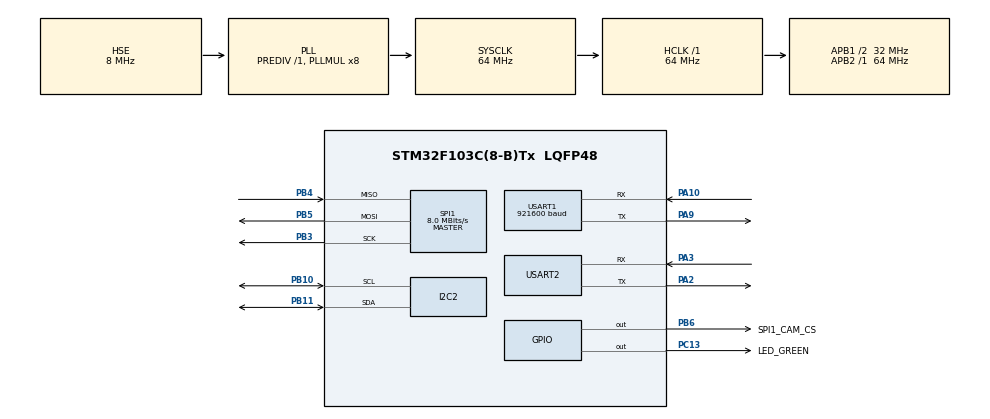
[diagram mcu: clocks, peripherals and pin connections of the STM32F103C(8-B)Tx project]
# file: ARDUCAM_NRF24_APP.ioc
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Mcu.Family=STM32F1
Mcu.Name=STM32F103C(8-B)Tx
Mcu.Package=LQFP48
NVIC.PriorityGroup=NVIC_PRIORITYGROUP_4
NVIC.TIM3_IRQn=true\:0\:0\:false\:false\:true\:true\:true
PA10.Mode=Asynchronous
PA10.Signal=USART1_RX
PA13.Mode=Serial_Wire
PA13.Signal=SYS_JTMS-SWDIO
PA14.Mode=Serial_Wire
PA14.Signal=SYS_JTCK-SWCLK
PA2.Mode=Asynchronous
PA2.Signal=USART2_TX
PA3.Mode=Asynchronous
PA3.Signal=USART2_RX
PA9.Mode=Asynchronous
PA9.Signal=USART1_TX
PB10.Mode=I2C
PB10.Signal=I2C2_SCL
PB11.Mode=I2C
PB11.Signal=I2C2_SDA
PB3.Mode=Full_Duplex_Master
PB3.Signal=SPI1_SCK
PB4.Mode=Full_Duplex_Master
PB4.Signal=SPI1_MISO
PB5.Mode=Full_Duplex_Master
PB5.Signal=SPI1_MOSI
PB6.GPIO_Label=SPI1_CAM_CS
PB6.Signal=GPIO_Output
PC13-TAMPER-RTC.GPIO_Label=LED_GREEN
PC13-TAMPER-RTC.Signal=GPIO_Output
PC14-OSC32_IN.Mode=LSE-External-Oscillator
PC14-OSC32_IN.Signal=RCC_OSC32_IN
PC15-OSC32_OUT.Mode=LSE-External-Oscillator
PC15-OSC32_OUT.Signal=RCC_OSC32_OUT
PD0-OSC_IN.Mode=HSE-External-Oscillator
PD0-OSC_IN.Signal=RCC_OSC_IN
PD1-OSC_OUT.Mode=HSE-External-Oscillator
PD1-OSC_OUT.Signal=RCC_OSC_OUT
ProjectManager.HeapSize=0x200
ProjectManager.StackSize=0x400
ProjectManager.TargetToolchain=EWARM V8.32
RCC.AHBFreq_Value=64000000
RCC.APB1CLKDivider=RCC_HCLK_DIV2
RCC.APB1Freq_Value=32000000
RCC.APB1TimFreq_Value=64000000
RCC.APB2Freq_Value=64000000
RCC.APB2TimFreq_Value=64000000
RCC.HCLKFreq_Value=64000000
RCC.PLLMUL=RCC_PLL_MUL8
RCC.PLLSourceVirtual=RCC_PLLSOURCE_HSE
RCC.SYSCLKFreq_VALUE=64000000
RCC.SYSCLKSource=RCC_SYSCLKSOURCE_PLLCLK
RCC.USBFreq_Value=64000000
SPI1.BaudRatePrescaler=SPI_BAUDRATEPRESCALER_8
SPI1.CalculateBaudRate=8.0 MBits/s
SPI1.Direction=SPI_DIRECTION_2LINES
SPI1.Mode=SPI_MODE_MASTER
SPI1.VirtualType=VM_MASTER
TIM3.Period=1000-1
TIM3.Prescaler=64000-1
USART1.BaudRate=921600
USART1.VirtualMode=VM_ASYNC
USART2.VirtualMode=VM_ASYNC
VP_TIM3_VS_ClockSourceINT.Mode=Internal
board=custom

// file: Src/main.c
/* USER CODE BEGIN Header */
/**
  ******************************************************************************
  * @file           : main.c
  * @brief          : Main program body
  ******************************************************************************
  * @attention
  *
  * <h2><center>&copy; Copyright (c) 2020 STMicroelectronics.
  * All rights reserved.</center></h2>
  *
  * This software component is licensed by ST under BSD 3-Clause license,
  * the "License"; You may not use this file except in compliance with the
  * License. You may obtain a copy of the License at:
  *                        opensource.org/licenses/BSD-3-Clause
  *
  ******************************************************************************
  */
/* USER CODE END Header */
#include "main.h"

/* USER CODE BEGIN Includes */

#include "stdio.h"
#include "string.h"
#include "ov2640_regs.h"
#include "arducam_2mp_mini_driver.h"

/* USER CODE END Includes */

I2C_HandleTypeDef hi2c2;

SPI_HandleTypeDef hspi1;

TIM_HandleTypeDef htim3;

UART_HandleTypeDef huart1;
UART_HandleTypeDef huart2;

/* USER CODE BEGIN PV */

#ifdef __GNUC__
#define PUTCHAR_PROTOTYPE_PUT int __io_putchar(int ch)
#define PUTCHAR_PROTOTYPE_GET int __io_getchar(int ch)
#else
#define PUTCHAR_PROTOTYPE_PUT int fputc(int ch, FILE *f)
#define PUTCHAR_PROTOTYPE_GET int fgetc(FILE *f)
#endif

PUTCHAR_PROTOTYPE_PUT
{
  HAL_UART_Transmit(&huart2, (uint8_t*)&ch, 1, 0xFF);
  if(ch == '\n')
  {
    ch = '\r';
    HAL_UART_Transmit(&huart2, (uint8_t*)&ch, 1, 0xFF);
  }
  return ch;
}

PUTCHAR_PROTOTYPE_GET
{
  uint8_t ch;
  while( HAL_UART_Receive(&huart2, (uint8_t*)&ch, 1, 0xFFFF) != HAL_OK);
  return ch;
}

/* USER CODE END PV */

void SystemClock_Config(void);
static void MX_GPIO_Init(void);
static void MX_SPI1_Init(void);
static void MX_USART1_UART_Init(void);
static void MX_I2C2_Init(void);
static void MX_TIM3_Init(void);
static void MX_USART2_UART_Init(void);

/* USER CODE BEGIN 0 */

void ARDU_CAM_INIT()
{
  uint8_t tmp[2];
  uint8_t SensorIDH, SensorIDL;

  cam_spi_write_reg(0x07, 0x80);
  HAL_Delay(100);
  cam_spi_write_reg(0x07, 0x00);
  HAL_Delay(100);

  uint8_t testregs[5] = {0xaa,0xbb,0xcc,0xdd,0x00};
  for(uint8_t i=0;i<5;i++)
  {
    tmp[0] = testregs[i];
    cam_spi_write_reg(0x00, tmp[0]);
    tmp[1] = cam_spi_read_reg(0x00);
    printf("write 0x%x read 0x%x\n", tmp[0],tmp[1]);
    if(tmp[0] != tmp[1])
    {
      printf("ERROR!!!!!!! ARDUCAM MODULE NOT FOUND\n");
      Error_Handler();
    }
  }

  cam_i2c_write_reg(0xff, 0x01);
  SensorIDH = cam_i2c_read_reg(0x0A);
  SensorIDL = cam_i2c_read_reg(0x0B);
  printf("Sensor ID : 0x%x%x\n", SensorIDH, SensorIDL);
  if( SensorIDH != 0x26 || SensorIDL != 0x42)
  {
    printf("OV2640 Sensor IDentification Error\n");
    Error_Handler();
  }

  cam_i2c_write_reg(0xff, 0x01);
  cam_i2c_write_reg(0x12, 0x80);
  HAL_Delay(100);
  printf("OV2640_JPEG_INIT\n");
  cam_i2c_write_regs(OV2640_JPEG_INIT);
  printf("OV2640_YUV422\n");
  cam_i2c_write_regs(OV2640_YUV422);
  printf("OV2640_JPEG\n");
  cam_i2c_write_regs(OV2640_JPEG);
  cam_i2c_write_reg(0xff, 0x01);
  cam_i2c_write_reg(0x15, 0x00);
  printf("OV2640_1600x1200_JPEG\n");
  cam_i2c_write_regs(OV2640_1600x1200_JPEG);
//  printf("\n");

}

volatile uint8_t capture_trigger = 0;

void HAL_TIM_PeriodElapsedCallback(TIM_HandleTypeDef *htim)
{
  if(htim->Instance == htim3.Instance)
  {
    capture_trigger = 1;
  }
}

#define pdatalen 512
uint8_t pdata[pdatalen];

uint32_t dataprocessed = 0;
uint32_t buffered_fifosize;

void Delay_us(uint32_t us){  // 72MHz
    uint32_t count=us*8-2;
    while(count--);
}

/* USER CODE END 0 */

int main(void)
{

  /* MCU Configuration--------------------------------------------------------*/

  /* Reset of all peripherals, Initializes the Flash interface and the Systick. */
  HAL_Init();

  /* Configure the system clock */
  SystemClock_Config();

  /* Initialize all configured peripherals */
  MX_GPIO_Init();
  MX_SPI1_Init();
  MX_USART1_UART_Init();
  MX_I2C2_Init();
  MX_TIM3_Init();
  MX_USART2_UART_Init();

  /* Infinite loop */
  /* USER CODE BEGIN WHILE */

  printf("------------- F103C8T6 Started -------------\n");
  ARDU_CAM_INIT();
  cam_spi_write_reg(ARDUCHIP_FIFO, FIFO_CLEAR_MASK);
  printf("ARDUCAM INIT Complete\n");

  while (1)
  {
    /* USER CODE END WHILE */

    /* USER CODE BEGIN 3 */

    getchar();

    printf("capture start\n");

    cam_spi_write_reg(ARDUCHIP_FIFO, FIFO_CLEAR_MASK);
    cam_spi_write_reg(ARDUCHIP_FIFO, FIFO_START_MASK); // fifo loading - capture start

    while( !(cam_spi_read_reg(ARDUCHIP_TRIG) & CAP_DONE_MASK));

    pdata[0] = cam_spi_read_reg(FIFO_SIZE1);
    pdata[1] = cam_spi_read_reg(FIFO_SIZE2);
    pdata[2] = cam_spi_read_reg(FIFO_SIZE3);
    pdata[15] = 0xAA;
    HAL_UART_Transmit(&huart1, pdata, 16, 0x1000);

    buffered_fifosize = ((pdata[2]<<16) | (pdata[1]<<8) | (pdata[0]));

    printf("captured size : %d bytes\n", buffered_fifosize);

    CAM_CS_BEGIN;

    pdata[0] = BURST_FIFO_READ;
    HAL_SPI_Transmit(&hspi1, pdata, 1, 0x1000);

    uint8_t bytenow=0,bytepast=0;
    while(buffered_fifosize--)
    {
      HAL_SPI_Receive(&hspi1, &bytenow, 1, 0x1000);
      HAL_UART_Transmit(&huart1, &bytenow,1,0x1000);

      if(bytenow == 0xD9 && bytepast == 0xFF)
      {
        HAL_UART_Transmit(&huart1, &bytenow,1,0x1000);
        printf("FFD9 found\n");
        break;
      }
      Delay_us(200);
      bytepast = bytenow;
    }

    CAM_CS_END;

    cam_spi_write_reg(ARDUCHIP_FIFO, FIFO_CLEAR_MASK); // reset fifo

    printf("capture end\n");

  }
  /* USER CODE END 3 */
}

void SystemClock_Config(void)
{
  RCC_OscInitTypeDef RCC_OscInitStruct = {0};
  RCC_ClkInitTypeDef RCC_ClkInitStruct = {0};

  /** Initializes the RCC Oscillators according to the specified parameters
  * in the RCC_OscInitTypeDef structure.
  */
  RCC_OscInitStruct.OscillatorType = RCC_OSCILLATORTYPE_HSE;
  RCC_OscInitStruct.HSEState = RCC_HSE_ON;
  RCC_OscInitStruct.HSEPredivValue = RCC_HSE_PREDIV_DIV1;
  RCC_OscInitStruct.HSIState = RCC_HSI_ON;
  RCC_OscInitStruct.PLL.PLLState = RCC_PLL_ON;
  RCC_OscInitStruct.PLL.PLLSource = RCC_PLLSOURCE_HSE;
  RCC_OscInitStruct.PLL.PLLMUL = RCC_PLL_MUL8;
  if (HAL_RCC_OscConfig(&RCC_OscInitStruct) != HAL_OK)
  {
    Error_Handler();
  }
  /** Initializes the CPU, AHB and APB buses clocks
  */
  RCC_ClkInitStruct.ClockType = RCC_CLOCKTYPE_HCLK|RCC_CLOCKTYPE_SYSCLK
                              |RCC_CLOCKTYPE_PCLK1|RCC_CLOCKTYPE_PCLK2;
  RCC_ClkInitStruct.SYSCLKSource = RCC_SYSCLKSOURCE_PLLCLK;
  RCC_ClkInitStruct.AHBCLKDivider = RCC_SYSCLK_DIV1;
  RCC_ClkInitStruct.APB1CLKDivider = RCC_HCLK_DIV2;
  RCC_ClkInitStruct.APB2CLKDivider = RCC_HCLK_DIV1;

  if (HAL_RCC_ClockConfig(&RCC_ClkInitStruct, FLASH_LATENCY_2) != HAL_OK)
  {
    Error_Handler();
  }
}

static void MX_I2C2_Init(void)
{

  hi2c2.Instance = I2C2;
  hi2c2.Init.ClockSpeed = 100000;
  hi2c2.Init.DutyCycle = I2C_DUTYCYCLE_2;
  hi2c2.Init.OwnAddress1 = 0;
  hi2c2.Init.AddressingMode = I2C_ADDRESSINGMODE_7BIT;
  hi2c2.Init.DualAddressMode = I2C_DUALADDRESS_DISABLE;
  hi2c2.Init.OwnAddress2 = 0;
  hi2c2.Init.GeneralCallMode = I2C_GENERALCALL_DISABLE;
  hi2c2.Init.NoStretchMode = I2C_NOSTRETCH_DISABLE;
  if (HAL_I2C_Init(&hi2c2) != HAL_OK)
  {
    Error_Handler();
  }

}

static void MX_SPI1_Init(void)
{

  /* SPI1 parameter configuration*/
  hspi1.Instance = SPI1;
  hspi1.Init.Mode = SPI_MODE_MASTER;
  hspi1.Init.Direction = SPI_DIRECTION_2LINES;
  hspi1.Init.DataSize = SPI_DATASIZE_8BIT;
  hspi1.Init.CLKPolarity = SPI_POLARITY_LOW;
  hspi1.Init.CLKPhase = SPI_PHASE_1EDGE;
  hspi1.Init.NSS = SPI_NSS_SOFT;
  hspi1.Init.BaudRatePrescaler = SPI_BAUDRATEPRESCALER_8;
  hspi1.Init.FirstBit = SPI_FIRSTBIT_MSB;
  hspi1.Init.TIMode = SPI_TIMODE_DISABLE;
  hspi1.Init.CRCCalculation = SPI_CRCCALCULATION_DISABLE;
  hspi1.Init.CRCPolynomial = 10;
  if (HAL_SPI_Init(&hspi1) != HAL_OK)
  {
    Error_Handler();
  }

}

static void MX_TIM3_Init(void)
{

  TIM_ClockConfigTypeDef sClockSourceConfig = {0};
  TIM_MasterConfigTypeDef sMasterConfig = {0};

  htim3.Instance = TIM3;
  htim3.Init.Prescaler = 64000-1;
  htim3.Init.CounterMode = TIM_COUNTERMODE_UP;
  htim3.Init.Period = 1000-1;
  htim3.Init.ClockDivision = TIM_CLOCKDIVISION_DIV1;
  htim3.Init.AutoReloadPreload = TIM_AUTORELOAD_PRELOAD_DISABLE;
  if (HAL_TIM_Base_Init(&htim3) != HAL_OK)
  {
    Error_Handler();
  }
  sClockSourceConfig.ClockSource = TIM_CLOCKSOURCE_INTERNAL;
  if (HAL_TIM_ConfigClockSource(&htim3, &sClockSourceConfig) != HAL_OK)
  {
    Error_Handler();
  }
  sMasterConfig.MasterOutputTrigger = TIM_TRGO_RESET;
  sMasterConfig.MasterSlaveMode = TIM_MASTERSLAVEMODE_DISABLE;
  if (HAL_TIMEx_MasterConfigSynchronization(&htim3, &sMasterConfig) != HAL_OK)
  {
    Error_Handler();
  }
  /* USER CODE BEGIN TIM3_Init 2 */

  if (HAL_TIM_Base_Start_IT(&htim3) != HAL_OK)
  {
    printf("HAL_TIM_Base_Start_IT Error\n");
    Error_Handler();
  }

  /* USER CODE END TIM3_Init 2 */

}

static void MX_USART1_UART_Init(void)
{

  huart1.Instance = USART1;
  huart1.Init.BaudRate = 921600;
  huart1.Init.WordLength = UART_WORDLENGTH_8B;
  huart1.Init.StopBits = UART_STOPBITS_1;
  huart1.Init.Parity = UART_PARITY_NONE;
  huart1.Init.Mode = UART_MODE_TX_RX;
  huart1.Init.HwFlowCtl = UART_HWCONTROL_NONE;
  huart1.Init.OverSampling = UART_OVERSAMPLING_16;
  if (HAL_UART_Init(&huart1) != HAL_OK)
  {
    Error_Handler();
  }

}

static void MX_USART2_UART_Init(void)
{

  huart2.Instance = USART2;
  huart2.Init.BaudRate = 115200;
  huart2.Init.WordLength = UART_WORDLENGTH_8B;
  huart2.Init.StopBits = UART_STOPBITS_1;
  huart2.Init.Parity = UART_PARITY_NONE;
  huart2.Init.Mode = UART_MODE_TX_RX;
  huart2.Init.HwFlowCtl = UART_HWCONTROL_NONE;
  huart2.Init.OverSampling = UART_OVERSAMPLING_16;
  if (HAL_UART_Init(&huart2) != HAL_OK)
  {
    Error_Handler();
  }

}

static void MX_GPIO_Init(void)
{
  GPIO_InitTypeDef GPIO_InitStruct = {0};

  /* GPIO Ports Clock Enable */
  __HAL_RCC_GPIOC_CLK_ENABLE();
  __HAL_RCC_GPIOD_CLK_ENABLE();
  __HAL_RCC_GPIOA_CLK_ENABLE();
  __HAL_RCC_GPIOB_CLK_ENABLE();

  /*Configure GPIO pin Output Level */
  HAL_GPIO_WritePin(LED_GREEN_GPIO_Port, LED_GREEN_Pin, GPIO_PIN_RESET);

  /*Configure GPIO pin Output Level */
  HAL_GPIO_WritePin(SPI1_CAM_CS_GPIO_Port, SPI1_CAM_CS_Pin, GPIO_PIN_RESET);

  /*Configure GPIO pin : LED_GREEN_Pin */
  GPIO_InitStruct.Pin = LED_GREEN_Pin;
  GPIO_InitStruct.Mode = GPIO_MODE_OUTPUT_PP;
  GPIO_InitStruct.Pull = GPIO_NOPULL;
  GPIO_InitStruct.Speed = GPIO_SPEED_FREQ_LOW;
  HAL_GPIO_Init(LED_GREEN_GPIO_Port, &GPIO_InitStruct);

  /*Configure GPIO pin : SPI1_CAM_CS_Pin */
  GPIO_InitStruct.Pin = SPI1_CAM_CS_Pin;
  GPIO_InitStruct.Mode = GPIO_MODE_OUTPUT_PP;
  GPIO_InitStruct.Pull = GPIO_NOPULL;
  GPIO_InitStruct.Speed = GPIO_SPEED_FREQ_LOW;
  HAL_GPIO_Init(SPI1_CAM_CS_GPIO_Port, &GPIO_InitStruct);

}

void Error_Handler(void)
{
  /* USER CODE BEGIN Error_Handler_Debug */
  /* User can add his own implementation to report the HAL error return state */

  while(1)
  {
    HAL_GPIO_TogglePin(LED_GREEN_GPIO_Port, LED_GREEN_Pin);
    HAL_Delay(100);
  }

  /* USER CODE END Error_Handler_Debug */
}

/************************ (C) COPYRIGHT STMicroelectronics *****END OF FILE****/
